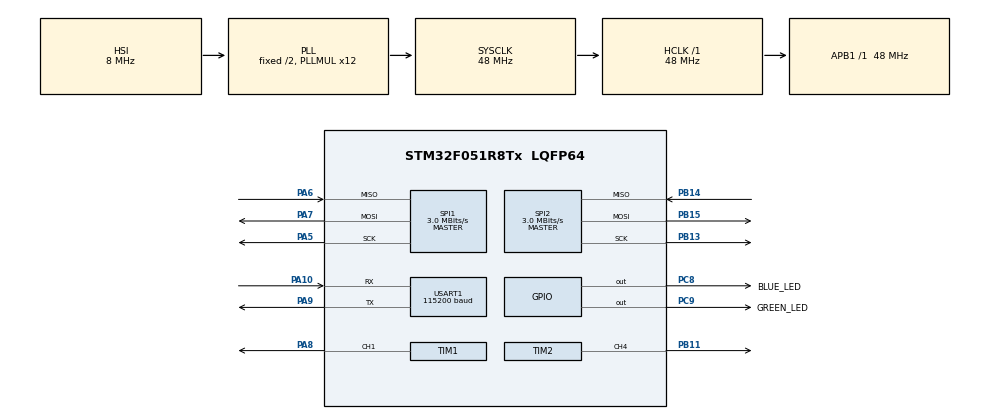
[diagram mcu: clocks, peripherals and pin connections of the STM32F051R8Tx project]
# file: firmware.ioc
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Mcu.Family=STM32F0
Mcu.Name=STM32F051R8Tx
Mcu.Package=LQFP64
NVIC.TIM1_BRK_UP_TRG_COM_IRQn=true\:0\:0\:false\:false\:true\:true\:true
NVIC.TIM1_CC_IRQn=true\:0\:0\:false\:false\:true\:true\:true
NVIC.TIM2_IRQn=true\:0\:0\:false\:false\:true\:true\:true
NVIC.USART1_IRQn=true\:0\:0\:false\:false\:true\:true\:true
PA10.Mode=Asynchronous
PA10.Signal=USART1_RX
PA13.Mode=Serial_Wire
PA13.Signal=SYS_SWDIO
PA14.Mode=Serial_Wire
PA14.Signal=SYS_SWCLK
PA5.Mode=Full_Duplex_Master
PA5.Signal=SPI1_SCK
PA6.Mode=Full_Duplex_Master
PA6.Signal=SPI1_MISO
PA7.Mode=Full_Duplex_Master
PA7.Signal=SPI1_MOSI
PA8.Signal=S_TIM1_CH1
PA9.Mode=Asynchronous
PA9.Signal=USART1_TX
PB11.Signal=S_TIM2_CH4
PB13.Mode=Full_Duplex_Master
PB13.Signal=SPI2_SCK
PB14.Mode=Full_Duplex_Master
PB14.Signal=SPI2_MISO
PB15.Mode=Full_Duplex_Master
PB15.Signal=SPI2_MOSI
PC8.GPIO_Label=BLUE_LED
PC8.Signal=GPIO_Output
PC9.GPIO_Label=GREEN_LED
PC9.Signal=GPIO_Output
ProjectManager.HeapSize=0x200
ProjectManager.StackSize=0x400
ProjectManager.TargetToolchain=STM32CubeIDE
RCC.AHBFreq_Value=48000000
RCC.APB1Freq_Value=48000000
RCC.APB1TimFreq_Value=48000000
RCC.HCLKFreq_Value=48000000
RCC.PLLMUL=RCC_PLL_MUL12
RCC.SYSCLKFreq_VALUE=48000000
RCC.SYSCLKSource=RCC_SYSCLKSOURCE_PLLCLK
SH.S_TIM1_CH1.0=TIM1_CH1,Output Compare1 CH1
SH.S_TIM2_CH4.0=TIM2_CH4,Output Compare4 CH4
SPI1.BaudRatePrescaler=SPI_BAUDRATEPRESCALER_16
SPI1.CalculateBaudRate=3.0 MBits/s
SPI1.DataSize=SPI_DATASIZE_16BIT
SPI1.Direction=SPI_DIRECTION_2LINES
SPI1.Mode=SPI_MODE_MASTER
SPI1.VirtualType=VM_MASTER
SPI2.BaudRatePrescaler=SPI_BAUDRATEPRESCALER_16
SPI2.CalculateBaudRate=3.0 MBits/s
SPI2.DataSize=SPI_DATASIZE_16BIT
SPI2.Direction=SPI_DIRECTION_2LINES
SPI2.Mode=SPI_MODE_MASTER
SPI2.VirtualType=VM_MASTER
TIM1.AutoReloadPreload=TIM_AUTORELOAD_PRELOAD_ENABLE
TIM1.Channel-Output\ Compare1\ CH1=TIM_CHANNEL_1
TIM1.OCMode_1=TIM_OCMODE_TOGGLE
TIM1.Period=24000
TIM1.Prescaler=100 - 1
TIM1.Pulse-Output\ Compare1\ CH1=12000 - 1
TIM2.AutoReloadPreload=TIM_AUTORELOAD_PRELOAD_ENABLE
TIM2.Channel-Output\ Compare4\ CH4=TIM_CHANNEL_4
TIM2.OCMode_4=TIM_OCMODE_TOGGLE
TIM2.Period=30000 - 1
TIM2.Prescaler=100 - 1
TIM2.Pulse-Output\ Compare4\ CH4=6000 - 1
USART1.BaudRate=115200
USART1.VirtualMode-Asynchronous=VM_ASYNC
VP_TIM1_VS_ClockSourceINT.Mode=Internal
VP_TIM2_VS_ClockSourceINT.Mode=Internal
board=custom

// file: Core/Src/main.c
/* USER CODE BEGIN Header */
/**
  ******************************************************************************
  * @file           : main.c
  * @brief          : Main program body
  ******************************************************************************
  * @attention
  *
  * Copyright (c) 2022 STMicroelectronics.
  * All rights reserved.
  *
  * This software is licensed under terms that can be found in the LICENSE file
  * in the root directory of this software component.
  * If no LICENSE file comes with this software, it is provided AS-IS.
  *
  ******************************************************************************
  */
/* USER CODE END Header */
#include "main.h"

SPI_HandleTypeDef hspi1;
SPI_HandleTypeDef hspi2;

TIM_HandleTypeDef htim1;
TIM_HandleTypeDef htim2;

UART_HandleTypeDef huart1;

void SystemClock_Config(void);

static void MX_GPIO_Init(void);

static void MX_SPI2_Init(void);

static void MX_TIM1_Init(void);

static void MX_TIM2_Init(void);

static void MX_SPI1_Init(void);

static void MX_USART1_UART_Init(void);

/* USER CODE BEGIN 0 */
int counter = 0;
char uart_buf[50];
int uart_buf_len;
int raw;
const int WRITE = 0x1;
uint8_t rxCommands[4];

void HAL_TIM_OC_DelayElapsedCallback(TIM_HandleTypeDef *htim) {
    if (htim == &htim1) {
        if (!(HAL_GPIO_ReadPin(GPIOA, GPIO_PIN_8))) { //check pin state

            /**
             * SPI1 ADC SAMPLE
             */
            HAL_GPIO_TogglePin(GPIOC, GPIO_PIN_9);

            /* Write to SPI (begin transfer?) */
            HAL_SPI_Transmit(&hspi1, (uint8_t * ) & WRITE, 1, 1);

            while (!(hspi1.Instance->SR));

            int raw = hspi1.Instance->DR;

            htim1.Instance->CCR1 = TIM_OCMODE_FORCED_ACTIVE;
            htim1.Instance->CCR1 = TIM_OCMODE_TOGGLE;
        }
    }

    if (htim == &htim2) {
        if (!(HAL_GPIO_ReadPin(GPIOB, GPIO_PIN_11))) { //check pin state

            /**
             * SPI2 ADC SAMPLE
             */
            HAL_GPIO_TogglePin(GPIOC, GPIO_PIN_8);

            /* Write to SPI (begin transfer?) */
            HAL_SPI_Transmit(&hspi2, (uint8_t * ) & WRITE, 1, 1);

            while (!(hspi2.Instance->SR));

            int raw = hspi2.Instance->DR;

            //FIXME: CCMR IS INCORRECT
            htim2.Instance->CCR4 = TIM_OCMODE_FORCED_ACTIVE;
            htim2.Instance->CCR4 = TIM_OCMODE_TOGGLE;
        }
    }
}

void HAL_UART_RxCpltCallback(UART_HandleTypeDef *huart) {
    UART_Start_Receive_IT(&huart1, rxCommands, 4);
    HAL_UART_Transmit(&huart1, (uint8_t *) rxCommands, 4, 100);
}

/* USER CODE END 0 */

int main(void) {

    /* MCU Configuration--------------------------------------------------------*/

    /* Reset of all peripherals, Initializes the Flash interface and the Systick. */
    HAL_Init();

    /* Configure the system clock */
    SystemClock_Config();

    /* Initialize all configured peripherals */
    MX_GPIO_Init();
    MX_SPI2_Init();
    MX_TIM1_Init();
    MX_TIM2_Init();
    MX_SPI1_Init();
    MX_USART1_UART_Init();
    /* USER CODE BEGIN 2 */

    HAL_TIM_OC_Start_IT(&htim1, TIM_CHANNEL_1);
    HAL_TIM_OC_Start_IT(&htim2, TIM_CHANNEL_4);

//  __HAL_RCC_PWR_CLK_ENABLE();
//  HAL_PWR_EnableBkUpAccess();
//  HAL_PWR_EnableWakeUpPin(GPIO_PIN_0);
//
//  int bool = 0;

    /* USER CODE END 2 */

    /* Infinite loop */
    /* USER CODE BEGIN WHILE */
    while (1) {

        //HAL_PWR_EnterSTOPMode(PWR_MAINREGULATOR_ON, PWR_STOPENTRY_WFI);
        /* USER CODE END WHILE */

    }
}

void SystemClock_Config(void) {
    RCC_OscInitTypeDef RCC_OscInitStruct = {0};
    RCC_ClkInitTypeDef RCC_ClkInitStruct = {0};
    RCC_PeriphCLKInitTypeDef PeriphClkInit = {0};

    /** Initializes the RCC Oscillators according to the specified parameters
    * in the RCC_OscInitTypeDef structure.
    */
    RCC_OscInitStruct.OscillatorType = RCC_OSCILLATORTYPE_HSI;
    RCC_OscInitStruct.HSIState = RCC_HSI_ON;
    RCC_OscInitStruct.HSICalibrationValue = RCC_HSICALIBRATION_DEFAULT;
    RCC_OscInitStruct.PLL.PLLState = RCC_PLL_ON;
    RCC_OscInitStruct.PLL.PLLSource = RCC_PLLSOURCE_HSI;
    RCC_OscInitStruct.PLL.PLLMUL = RCC_PLL_MUL12;
    RCC_OscInitStruct.PLL.PREDIV = RCC_PREDIV_DIV1;
    if (HAL_RCC_OscConfig(&RCC_OscInitStruct) != HAL_OK) {
        Error_Handler();
    }
    /** Initializes the CPU, AHB and APB buses clocks
    */
    RCC_ClkInitStruct.ClockType = RCC_CLOCKTYPE_HCLK | RCC_CLOCKTYPE_SYSCLK
                                  | RCC_CLOCKTYPE_PCLK1;
    RCC_ClkInitStruct.SYSCLKSource = RCC_SYSCLKSOURCE_PLLCLK;
    RCC_ClkInitStruct.AHBCLKDivider = RCC_SYSCLK_DIV1;
    RCC_ClkInitStruct.APB1CLKDivider = RCC_HCLK_DIV1;

    if (HAL_RCC_ClockConfig(&RCC_ClkInitStruct, FLASH_LATENCY_1) != HAL_OK) {
        Error_Handler();
    }
    PeriphClkInit.PeriphClockSelection = RCC_PERIPHCLK_USART1;
    PeriphClkInit.Usart1ClockSelection = RCC_USART1CLKSOURCE_PCLK1;
    if (HAL_RCCEx_PeriphCLKConfig(&PeriphClkInit) != HAL_OK) {
        Error_Handler();
    }
}

static void MX_SPI1_Init(void) {

    /* SPI1 parameter configuration*/
    hspi1.Instance = SPI1;
    hspi1.Init.Mode = SPI_MODE_MASTER;
    hspi1.Init.Direction = SPI_DIRECTION_2LINES;
    hspi1.Init.DataSize = SPI_DATASIZE_16BIT;
    hspi1.Init.CLKPolarity = SPI_POLARITY_LOW;
    hspi1.Init.CLKPhase = SPI_PHASE_1EDGE;
    hspi1.Init.NSS = SPI_NSS_SOFT;
    hspi1.Init.BaudRatePrescaler = SPI_BAUDRATEPRESCALER_16;
    hspi1.Init.FirstBit = SPI_FIRSTBIT_MSB;
    hspi1.Init.TIMode = SPI_TIMODE_DISABLE;
    hspi1.Init.CRCCalculation = SPI_CRCCALCULATION_DISABLE;
    hspi1.Init.CRCPolynomial = 7;
    hspi1.Init.CRCLength = SPI_CRC_LENGTH_DATASIZE;
    hspi1.Init.NSSPMode = SPI_NSS_PULSE_ENABLE;
    if (HAL_SPI_Init(&hspi1) != HAL_OK) {
        Error_Handler();
    }

}

static void MX_SPI2_Init(void) {

    /* SPI2 parameter configuration*/
    hspi2.Instance = SPI2;
    hspi2.Init.Mode = SPI_MODE_MASTER;
    hspi2.Init.Direction = SPI_DIRECTION_2LINES;
    hspi2.Init.DataSize = SPI_DATASIZE_16BIT;
    hspi2.Init.CLKPolarity = SPI_POLARITY_LOW;
    hspi2.Init.CLKPhase = SPI_PHASE_1EDGE;
    hspi2.Init.NSS = SPI_NSS_SOFT;
    hspi2.Init.BaudRatePrescaler = SPI_BAUDRATEPRESCALER_16;
    hspi2.Init.FirstBit = SPI_FIRSTBIT_MSB;
    hspi2.Init.TIMode = SPI_TIMODE_DISABLE;
    hspi2.Init.CRCCalculation = SPI_CRCCALCULATION_DISABLE;
    hspi2.Init.CRCPolynomial = 7;
    hspi2.Init.CRCLength = SPI_CRC_LENGTH_DATASIZE;
    hspi2.Init.NSSPMode = SPI_NSS_PULSE_ENABLE;
    if (HAL_SPI_Init(&hspi2) != HAL_OK) {
        Error_Handler();
    }

}

static void MX_TIM1_Init(void) {

    TIM_ClockConfigTypeDef sClockSourceConfig = {0};
    TIM_MasterConfigTypeDef sMasterConfig = {0};
    TIM_OC_InitTypeDef sConfigOC = {0};
    TIM_BreakDeadTimeConfigTypeDef sBreakDeadTimeConfig = {0};

    htim1.Instance = TIM1;
    htim1.Init.Prescaler = 100 - 1;
    htim1.Init.CounterMode = TIM_COUNTERMODE_UP;
    htim1.Init.Period = 24000;
    htim1.Init.ClockDivision = TIM_CLOCKDIVISION_DIV1;
    htim1.Init.RepetitionCounter = 0;
    htim1.Init.AutoReloadPreload = TIM_AUTORELOAD_PRELOAD_ENABLE;
    if (HAL_TIM_Base_Init(&htim1) != HAL_OK) {
        Error_Handler();
    }
    sClockSourceConfig.ClockSource = TIM_CLOCKSOURCE_INTERNAL;
    if (HAL_TIM_ConfigClockSource(&htim1, &sClockSourceConfig) != HAL_OK) {
        Error_Handler();
    }
    if (HAL_TIM_OC_Init(&htim1) != HAL_OK) {
        Error_Handler();
    }
    sMasterConfig.MasterOutputTrigger = TIM_TRGO_RESET;
    sMasterConfig.MasterSlaveMode = TIM_MASTERSLAVEMODE_DISABLE;
    if (HAL_TIMEx_MasterConfigSynchronization(&htim1, &sMasterConfig) != HAL_OK) {
        Error_Handler();
    }
    sConfigOC.OCMode = TIM_OCMODE_TOGGLE;
    sConfigOC.Pulse = 12000 - 1;
    sConfigOC.OCPolarity = TIM_OCPOLARITY_HIGH;
    sConfigOC.OCNPolarity = TIM_OCNPOLARITY_HIGH;
    sConfigOC.OCFastMode = TIM_OCFAST_DISABLE;
    sConfigOC.OCIdleState = TIM_OCIDLESTATE_RESET;
    sConfigOC.OCNIdleState = TIM_OCNIDLESTATE_RESET;
    if (HAL_TIM_OC_ConfigChannel(&htim1, &sConfigOC, TIM_CHANNEL_1) != HAL_OK) {
        Error_Handler();
    }
    sBreakDeadTimeConfig.OffStateRunMode = TIM_OSSR_DISABLE;
    sBreakDeadTimeConfig.OffStateIDLEMode = TIM_OSSI_DISABLE;
    sBreakDeadTimeConfig.LockLevel = TIM_LOCKLEVEL_OFF;
    sBreakDeadTimeConfig.DeadTime = 0;
    sBreakDeadTimeConfig.BreakState = TIM_BREAK_DISABLE;
    sBreakDeadTimeConfig.BreakPolarity = TIM_BREAKPOLARITY_HIGH;
    sBreakDeadTimeConfig.AutomaticOutput = TIM_AUTOMATICOUTPUT_DISABLE;
    if (HAL_TIMEx_ConfigBreakDeadTime(&htim1, &sBreakDeadTimeConfig) != HAL_OK) {
        Error_Handler();
    }
    HAL_TIM_MspPostInit(&htim1);

}

static void MX_TIM2_Init(void) {

    TIM_ClockConfigTypeDef sClockSourceConfig = {0};
    TIM_MasterConfigTypeDef sMasterConfig = {0};
    TIM_OC_InitTypeDef sConfigOC = {0};

    htim2.Instance = TIM2;
    htim2.Init.Prescaler = 100 - 1;
    htim2.Init.CounterMode = TIM_COUNTERMODE_UP;
    htim2.Init.Period = 30000 - 1;
    htim2.Init.ClockDivision = TIM_CLOCKDIVISION_DIV1;
    htim2.Init.AutoReloadPreload = TIM_AUTORELOAD_PRELOAD_ENABLE;
    if (HAL_TIM_Base_Init(&htim2) != HAL_OK) {
        Error_Handler();
    }
    sClockSourceConfig.ClockSource = TIM_CLOCKSOURCE_INTERNAL;
    if (HAL_TIM_ConfigClockSource(&htim2, &sClockSourceConfig) != HAL_OK) {
        Error_Handler();
    }
    if (HAL_TIM_OC_Init(&htim2) != HAL_OK) {
        Error_Handler();
    }
    sMasterConfig.MasterOutputTrigger = TIM_TRGO_RESET;
    sMasterConfig.MasterSlaveMode = TIM_MASTERSLAVEMODE_DISABLE;
    if (HAL_TIMEx_MasterConfigSynchronization(&htim2, &sMasterConfig) != HAL_OK) {
        Error_Handler();
    }
    sConfigOC.OCMode = TIM_OCMODE_TOGGLE;
    sConfigOC.Pulse = 6000 - 1;
    sConfigOC.OCPolarity = TIM_OCPOLARITY_HIGH;
    sConfigOC.OCFastMode = TIM_OCFAST_DISABLE;
    if (HAL_TIM_OC_ConfigChannel(&htim2, &sConfigOC, TIM_CHANNEL_4) != HAL_OK) {
        Error_Handler();
    }
    HAL_TIM_MspPostInit(&htim2);

}

static void MX_USART1_UART_Init(void) {

    huart1.Instance = USART1;
    huart1.Init.BaudRate = 115200;
    huart1.Init.WordLength = UART_WORDLENGTH_8B;
    huart1.Init.StopBits = UART_STOPBITS_1;
    huart1.Init.Parity = UART_PARITY_NONE;
    huart1.Init.Mode = UART_MODE_TX_RX;
    huart1.Init.HwFlowCtl = UART_HWCONTROL_NONE;
    huart1.Init.OverSampling = UART_OVERSAMPLING_16;
    huart1.Init.OneBitSampling = UART_ONE_BIT_SAMPLE_DISABLE;
    huart1.AdvancedInit.AdvFeatureInit = UART_ADVFEATURE_NO_INIT;
    if (HAL_UART_Init(&huart1) != HAL_OK) {
        Error_Handler();
    }

}

static void MX_GPIO_Init(void) {
    GPIO_InitTypeDef GPIO_InitStruct = {0};

    /* GPIO Ports Clock Enable */
    __HAL_RCC_GPIOA_CLK_ENABLE();
    __HAL_RCC_GPIOB_CLK_ENABLE();
    __HAL_RCC_GPIOC_CLK_ENABLE();

    /*Configure GPIO pin Output Level */
    HAL_GPIO_WritePin(GPIOC, BLUE_LED_Pin | GREEN_LED_Pin, GPIO_PIN_RESET);

    /*Configure GPIO pins : BLUE_LED_Pin GREEN_LED_Pin */
    GPIO_InitStruct.Pin = BLUE_LED_Pin | GREEN_LED_Pin;
    GPIO_InitStruct.Mode = GPIO_MODE_OUTPUT_PP;
    GPIO_InitStruct.Pull = GPIO_NOPULL;
    GPIO_InitStruct.Speed = GPIO_SPEED_FREQ_LOW;
    HAL_GPIO_Init(GPIOC, &GPIO_InitStruct);

}

void Error_Handler(void) {
    __disable_irq();
    while (1) {
    }
}
